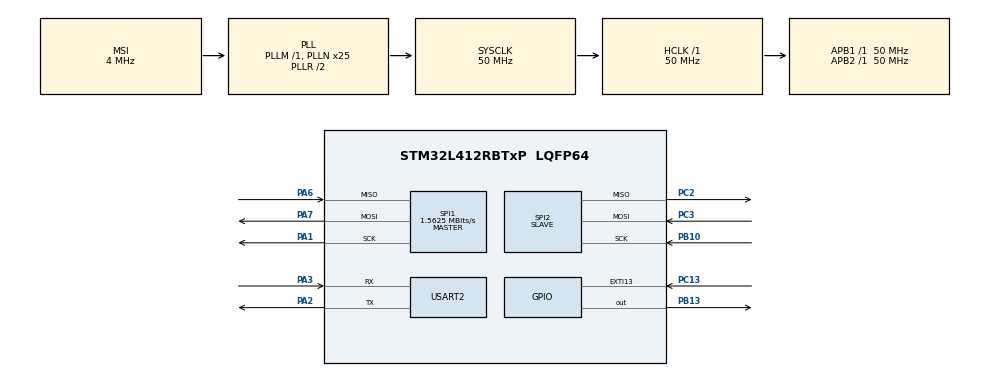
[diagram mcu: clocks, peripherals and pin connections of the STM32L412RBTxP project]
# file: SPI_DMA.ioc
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Dma.Request0=SPI2_RX
Dma.Request1=SPI2_TX
Dma.Request2=SPI1_RX
Dma.Request3=SPI1_TX
Dma.SPI1_RX.2.Direction=DMA_PERIPH_TO_MEMORY
Dma.SPI1_RX.2.Instance=DMA1_Channel2
Dma.SPI1_RX.2.MemDataAlignment=DMA_MDATAALIGN_BYTE
Dma.SPI1_RX.2.MemInc=DMA_MINC_ENABLE
Dma.SPI1_RX.2.Mode=DMA_NORMAL
Dma.SPI1_RX.2.PeriphDataAlignment=DMA_PDATAALIGN_BYTE
Dma.SPI1_RX.2.PeriphInc=DMA_PINC_DISABLE
Dma.SPI1_RX.2.Priority=DMA_PRIORITY_LOW
Dma.SPI1_TX.3.Direction=DMA_MEMORY_TO_PERIPH
Dma.SPI1_TX.3.Instance=DMA1_Channel3
Dma.SPI1_TX.3.MemDataAlignment=DMA_MDATAALIGN_BYTE
Dma.SPI1_TX.3.MemInc=DMA_MINC_ENABLE
Dma.SPI1_TX.3.Mode=DMA_NORMAL
Dma.SPI1_TX.3.PeriphDataAlignment=DMA_PDATAALIGN_BYTE
Dma.SPI1_TX.3.PeriphInc=DMA_PINC_DISABLE
Dma.SPI1_TX.3.Priority=DMA_PRIORITY_LOW
Dma.SPI2_RX.0.Direction=DMA_PERIPH_TO_MEMORY
Dma.SPI2_RX.0.Instance=DMA1_Channel4
Dma.SPI2_RX.0.MemDataAlignment=DMA_MDATAALIGN_BYTE
Dma.SPI2_RX.0.MemInc=DMA_MINC_ENABLE
Dma.SPI2_RX.0.Mode=DMA_NORMAL
Dma.SPI2_RX.0.PeriphDataAlignment=DMA_PDATAALIGN_BYTE
Dma.SPI2_RX.0.PeriphInc=DMA_PINC_DISABLE
Dma.SPI2_RX.0.Priority=DMA_PRIORITY_LOW
Dma.SPI2_TX.1.Direction=DMA_MEMORY_TO_PERIPH
Dma.SPI2_TX.1.Instance=DMA1_Channel5
Dma.SPI2_TX.1.MemDataAlignment=DMA_MDATAALIGN_BYTE
Dma.SPI2_TX.1.MemInc=DMA_MINC_ENABLE
Dma.SPI2_TX.1.Mode=DMA_NORMAL
Dma.SPI2_TX.1.PeriphDataAlignment=DMA_PDATAALIGN_BYTE
Dma.SPI2_TX.1.PeriphInc=DMA_PINC_DISABLE
Dma.SPI2_TX.1.Priority=DMA_PRIORITY_LOW
Mcu.Family=STM32L4
Mcu.Name=STM32L412RBTxP
Mcu.Package=LQFP64
NVIC.DMA1_Channel2_IRQn=true\:0\:0\:false\:false\:true\:false\:true
NVIC.DMA1_Channel3_IRQn=true\:0\:0\:false\:false\:true\:false\:true
NVIC.DMA1_Channel4_IRQn=true\:0\:0\:false\:false\:true\:false\:true
NVIC.DMA1_Channel5_IRQn=true\:0\:0\:false\:false\:true\:false\:true
NVIC.EXTI15_10_IRQn=true\:0\:0\:false\:false\:true\:true\:true
NVIC.PriorityGroup=NVIC_PRIORITYGROUP_4
PA1.Mode=Full_Duplex_Master
PA1.Signal=SPI1_SCK
PA2.Mode=Asynchronous
PA2.Signal=USART2_TX
PA3.Mode=Asynchronous
PA3.Signal=USART2_RX
PA6.Mode=Full_Duplex_Master
PA6.Signal=SPI1_MISO
PA7.Mode=Full_Duplex_Master
PA7.Signal=SPI1_MOSI
PB10.Mode=Full_Duplex_Slave
PB10.Signal=SPI2_SCK
PB13.Signal=GPIO_Output
PC13.GPIO_ModeDefaultEXTI=GPIO_MODE_IT_FALLING
PC13.Signal=GPXTI13
PC2.Mode=Full_Duplex_Slave
PC2.Signal=SPI2_MISO
PC3.Mode=Full_Duplex_Slave
PC3.Signal=SPI2_MOSI
ProjectManager.HeapSize=0x200
ProjectManager.StackSize=0x400
ProjectManager.TargetToolchain=STM32CubeIDE
RCC.ADCFreq_Value=50000000
RCC.AHBFreq_Value=50000000
RCC.APB1Freq_Value=50000000
RCC.APB1TimFreq_Value=50000000
RCC.APB2Freq_Value=50000000
RCC.APB2TimFreq_Value=50000000
RCC.CortexFreq_Value=50000000
RCC.HCLKFreq_Value=50000000
RCC.HSE_VALUE=8000000
RCC.HSI48_VALUE=48000000
RCC.HSI_VALUE=16000000
RCC.LSE_VALUE=32768
RCC.MSI_VALUE=4000000
RCC.PLLN=25
RCC.SYSCLKFreq_VALUE=50000000
RCC.SYSCLKSource=RCC_SYSCLKSOURCE_PLLCLK
RCC.USBFreq_Value=4000000
RCC.VCOOutputFreq_Value=100000000
SPI1.BaudRatePrescaler=SPI_BAUDRATEPRESCALER_32
SPI1.CalculateBaudRate=1.5625 MBits/s
SPI1.DataSize=SPI_DATASIZE_8BIT
SPI1.Direction=SPI_DIRECTION_2LINES
SPI1.Mode=SPI_MODE_MASTER
SPI1.NSSPMode=SPI_NSS_PULSE_DISABLE
SPI1.VirtualType=VM_MASTER
SPI2.DataSize=SPI_DATASIZE_8BIT
SPI2.Direction=SPI_DIRECTION_2LINES
SPI2.Mode=SPI_MODE_SLAVE
SPI2.VirtualType=VM_SLAVE
USART2.VirtualMode-Asynchronous=VM_ASYNC
board=custom

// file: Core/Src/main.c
/* USER CODE BEGIN Header */
/**
  ******************************************************************************
  * @file           : main.c
  * @brief          : Main program body
  ******************************************************************************
  * @attention
  *
  * <h2><center>&copy; Copyright (c) 2021 STMicroelectronics.
  * All rights reserved.</center></h2>
  *
  * This software component is licensed by ST under BSD 3-Clause license,
  * the "License"; You may not use this file except in compliance with the
  * License. You may obtain a copy of the License at:
  *                        opensource.org/licenses/BSD-3-Clause
  *
  ******************************************************************************
  */
/* USER CODE END Header */
#include "main.h"
#include "dma.h"
#include "spi.h"
#include "usart.h"
#include "gpio.h"

/* USER CODE BEGIN Includes */
#include <stdio.h.>
#include <string.h>
/* USER CODE END Includes */

/* USER CODE BEGIN PM */
#ifdef __GNUC__
    #define PUTCHAR_PROTOTYPE int __io_putchar(int ch)
#else
    #define PUTCHAR_PROTOTYPE int fputc(int ch, FILE *f)
#endif

PUTCHAR_PROTOTYPE
{
  HAL_UART_Transmit(&huart2, (uint8_t *)&ch, 1, 0xFFFF);
  return ch;
}
/* USER CODE END PM */

void SystemClock_Config(void);

/* USER CODE BEGIN 0 */

#define COUNTOF(__BUFFER__) (sizeof(__BUFFER__) / sizeof(*(__BUFFER__)))
#define SLAVE_TX_SIZE (COUNTOF(slave_buffer_tx) - 1)
#define MASTER_TX_SIZE (COUNTOF(master_buffer_tx) -1)

/* Master, Slave Tx Buffer */
uint8_t master_buffer_tx[] = "STM32L412RB SPI Master Tx";
uint8_t slave_buffer_tx[] = "STM32L412RB SPI Slave TX";

/* Master, Slave Rx Buffer */
uint8_t master_buffer_rx[SLAVE_TX_SIZE] = {0,};
uint8_t slave_buffer_rx[MASTER_TX_SIZE] = {0,};

/* USER CODE END 0 */

int main(void)
{

  /* MCU Configuration--------------------------------------------------------*/

  /* Reset of all peripherals, Initializes the Flash interface and the Systick. */
  HAL_Init();

  /* Configure the system clock */
  SystemClock_Config();

  /* Initialize all configured peripherals */
  MX_GPIO_Init();
  MX_DMA_Init();
  MX_SPI1_Init();
  MX_SPI2_Init();
  MX_USART2_UART_Init();
  /* USER CODE BEGIN 2 */
  printf("Hi \r\n");
#if 0
  /* wait for the button event */
  while (HAL_GPIO_ReadPin(GPIOC, GPIO_PIN_13) != RESET)
  {
  }

  /* receive the data from SPI1(master) */
  if (HAL_SPI_Receive_DMA(&hspi2, (uint8_t*)slave_buffer_rx, MASTER_TX_SIZE) != HAL_OK)
  {
    Error_Handler();
  }

  /* send the data to SPI2(slave) */
  if (HAL_SPI_Transmit_DMA(&hspi1, (uint8_t*)master_buffer_tx, MASTER_TX_SIZE) != HAL_OK)
  {
    Error_Handler();
  }

  /* check the SPI tx, rx state */
  while (HAL_SPI_GetState(&hspi2) != HAL_SPI_STATE_READY)
  {
  }

  while (HAL_SPI_GetState(&hspi1) != HAL_SPI_STATE_READY)
  {
  }

  /* send the data to SPI1(master) */
  if (HAL_SPI_Transmit_DMA(&hspi2, (uint8_t*)slave_buffer_tx, SLAVE_TX_SIZE) != HAL_OK)
  {
    Error_Handler();
  }

  /* receive the data from SPI2(slave) */
  if (HAL_SPI_Receive_DMA(&hspi1, (uint8_t*)master_buffer_rx, SLAVE_TX_SIZE) != HAL_OK)
  {
    Error_Handler();
  }

  /* check the SPI tx, rx state */
  while (HAL_SPI_GetState(&hspi2) != HAL_SPI_STATE_READY)
  {
  }

  while (HAL_SPI_GetState(&hspi1) != HAL_SPI_STATE_READY)
  {
  }

#else

  uint8_t master_buffer_tx[] = "STM32L412RB SPI Master Tx";
  uint8_t slave_buffer_tx[] = "STM32L412RB SPI Slave TX";

  /* Master, Slave Rx Buffer */
  uint8_t master_buffer_rx[SLAVE_TX_SIZE] = {0,};
  uint8_t slave_buffer_rx[MASTER_TX_SIZE] = {0,};

#endif

  /* USER CODE END 2 */

  /* Infinite loop */
  /* USER CODE BEGIN WHILE */
  while (1)
  {
    HAL_GPIO_TogglePin(GPIOB, GPIO_PIN_13);
    HAL_Delay(500);
//    if (HAL_SPI_Transmit_DMA(&hspi1, (uint8_t*)master_buffer_tx, (uint8_t*)master_buffer_rx, MASTER_TX_SIZE+SLAVE_TX_SIZE) != HAL_OK)
    if (HAL_SPI_Transmit_DMA(&hspi1, (uint8_t*)master_buffer_tx, MASTER_TX_SIZE) != HAL_OK)
    {
      Error_Handler();
    }
    HAL_DMA_STATE_CHANGE(&hspi1);
//    if (HAL_SPI_Receive_DMA(&hspi2, (uint8_t*)slave_buffer_tx, (uint8_t*)slave_buffer_rx, MASTER_TX_SIZE+SLAVE_TX_SIZE) != HAL_OK)
    if (HAL_SPI_Receive_DMA(&hspi2, (uint8_t*)slave_buffer_rx, MASTER_TX_SIZE) != HAL_OK)
    {
      Error_Handler();
    }
    HAL_DMA_STATE_CHANGE(&hspi2);
    /* USER CODE END WHILE */

  }
}

void SystemClock_Config(void)
{
  RCC_OscInitTypeDef RCC_OscInitStruct = {0};
  RCC_ClkInitTypeDef RCC_ClkInitStruct = {0};
  RCC_PeriphCLKInitTypeDef PeriphClkInit = {0};

  /** Configure the main internal regulator output voltage
  */
  if (HAL_PWREx_ControlVoltageScaling(PWR_REGULATOR_VOLTAGE_SCALE1) != HAL_OK)
  {
    Error_Handler();
  }
  /** Initializes the RCC Oscillators according to the specified parameters
  * in the RCC_OscInitTypeDef structure.
  */
  RCC_OscInitStruct.OscillatorType = RCC_OSCILLATORTYPE_MSI;
  RCC_OscInitStruct.MSIState = RCC_MSI_ON;
  RCC_OscInitStruct.MSICalibrationValue = 0;
  RCC_OscInitStruct.MSIClockRange = RCC_MSIRANGE_6;
  RCC_OscInitStruct.PLL.PLLState = RCC_PLL_ON;
  RCC_OscInitStruct.PLL.PLLSource = RCC_PLLSOURCE_MSI;
  RCC_OscInitStruct.PLL.PLLM = 1;
  RCC_OscInitStruct.PLL.PLLN = 25;
  RCC_OscInitStruct.PLL.PLLQ = RCC_PLLQ_DIV2;
  RCC_OscInitStruct.PLL.PLLR = RCC_PLLR_DIV2;
  if (HAL_RCC_OscConfig(&RCC_OscInitStruct) != HAL_OK)
  {
    Error_Handler();
  }
  /** Initializes the CPU, AHB and APB buses clocks
  */
  RCC_ClkInitStruct.ClockType = RCC_CLOCKTYPE_HCLK|RCC_CLOCKTYPE_SYSCLK
                              |RCC_CLOCKTYPE_PCLK1|RCC_CLOCKTYPE_PCLK2;
  RCC_ClkInitStruct.SYSCLKSource = RCC_SYSCLKSOURCE_PLLCLK;
  RCC_ClkInitStruct.AHBCLKDivider = RCC_SYSCLK_DIV1;
  RCC_ClkInitStruct.APB1CLKDivider = RCC_HCLK_DIV1;
  RCC_ClkInitStruct.APB2CLKDivider = RCC_HCLK_DIV1;

  if (HAL_RCC_ClockConfig(&RCC_ClkInitStruct, FLASH_LATENCY_3) != HAL_OK)
  {
    Error_Handler();
  }
  PeriphClkInit.PeriphClockSelection = RCC_PERIPHCLK_USART2;
  PeriphClkInit.Usart2ClockSelection = RCC_USART2CLKSOURCE_PCLK1;
  if (HAL_RCCEx_PeriphCLKConfig(&PeriphClkInit) != HAL_OK)
  {
    Error_Handler();
  }
}

/* USER CODE BEGIN 4 */
void HAL_DMA_STATE_CHANGE(SPI_HandleTypeDef *hspi)
{
  hspi->State = HAL_SPI_STATE_READY;
}
/* USER CODE END 4 */

void Error_Handler(void)
{
  __disable_irq();
  while (1)
  {
  }
}

/************************ (C) COPYRIGHT STMicroelectronics *****END OF FILE****/
